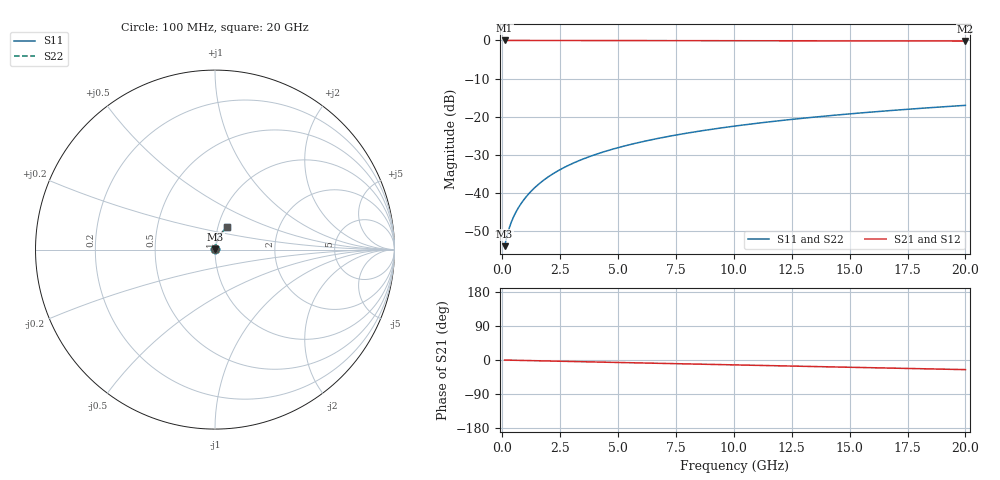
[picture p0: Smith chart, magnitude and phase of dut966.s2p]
! Touchstone file exported from HFSS 2026.1.0
!  File:  C:/ffzhzh/LocalFiles/Ansys_Project_Files/temp_train_BSMRDL_966_1783172527_55132.aedt
!  Generated:  09:43:14 PM Jul  4, 2026
!  Design:  BSMRDL
!  Project:  temp_train_BSMRDL_966_1783172527_55132
! Variables:
!  h_bsmrdl = 4.09um
!  h_ox = 20um
!  h_rdl = 5um
!  h_sub = 80um
!  h_tmrdl = 5um
!  h_tsv = 80um
!  h_via = 3um
!  l_bsmrdl = 411.47um
!  l_sub = 811.47um
!  l_tmrdl = 200um
!  m_sub = 200um
!  pitch = 35.02um
!  r_tsv = 6um
!  s_tmrdl = 10um
!  w_bsmrdl = 23.49um
!  w_sub = 500um
!  w_tmrdl = 12um
!  x_tsv_center1 = 206um
!  x_tsv_center2 = 640.96um
!  x_tsv_center3 = 852.96um
!  x_tsv_center4 = 1287.92um
!  x_tsv_center5 = 1499.92um
!  x_tsv_center6 = 1934.88um
# GHz S MA R 50.000000
! Terminal data exported
! Port[1] = BSM_RDL1_1_T1
! Port[2] = BSM_RDL1_1_T2
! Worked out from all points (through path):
!   200 points, 100 MHz to 20 GHz, reference 50 ohm
!   highest |S21| = -0.02 dB at 100 MHz (marker M1); lowest = -0.2 dB at 20 GHz (marker M2)
!   group delay of S21, straight-line fit = 3.52 ps
!   lowest |S11| = -53.9 dB at 100 MHz (marker M3), VSWR 1.00, Z = 50.2 + j0.103 ohm
!   |S11| at or under -10 dB: start of sweep to end of sweep
!   |S22| runs from -53.9 to -17.0 dB; largest |S21 - S12| = 6e-15
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0.1  0.002023 30.5  0.9983 -0.1  0.9983 -0.1  0.002023 30.5
! Gamma 0 0 0 0
! Port Impedance 50 0 50 0
0.2  0.002736 46.2  0.9981 -0.3  0.9981 -0.3  0.002736 46.2
0.3  0.003506 54.1  0.998 -0.4  0.998 -0.4  0.003506 54.1
0.4  0.00426 58.9  0.9978 -0.5  0.9978 -0.5  0.00426 58.9
0.5  0.005 62.4  0.9978 -0.7  0.9978 -0.7  0.005 62.4
0.6  0.005737 65.1  0.9977 -0.8  0.9977 -0.8  0.005737 65.1
0.8  0.007221 69.1  0.9976 -1.1  0.9976 -1.1  0.007221 69.1
1  0.008728 71.8  0.9975 -1.3  0.9975 -1.3  0.008729 71.8
1.2  0.01026 73.8  0.9974 -1.6  0.9974 -1.6  0.01026 73.8
1.4  0.0118 75.1  0.9974 -1.9  0.9974 -1.9  0.0118 75.1
1.7  0.01413 76.5  0.9972 -2.3  0.9972 -2.3  0.01413 76.5
2.2  0.01802 77.8  0.997 -2.9  0.997 -2.9  0.01802 77.8
2.8  0.02268 78.3  0.9966 -3.7  0.9966 -3.7  0.02268 78.3
3.5  0.02808 78.3  0.9962 -4.6  0.9962 -4.6  0.02808 78.3
4.2  0.03341 77.9  0.9956 -5.5  0.9956 -5.5  0.03341 77.9
5  0.03942 77.3  0.995 -6.5  0.995 -6.5  0.03942 77.3
6.8  0.05263 75.5  0.9935 -8.8  0.9935 -8.8  0.05263 75.5
8.3  0.06336 74.0  0.9922 -10.7  0.9922 -10.7  0.06336 74.0
10.1  0.07598 72.0  0.9906 -13.0  0.9906 -13.0  0.07598 72.0
13.4  0.09849 68.4  0.9875 -17.2  0.9875 -17.2  0.09849 68.4
16.7  0.1202 64.7  0.9842 -21.3  0.9842 -21.3  0.1202 64.7
20  0.1411 60.9  0.9807 -25.4  0.9807 -25.4  0.1411 60.9
